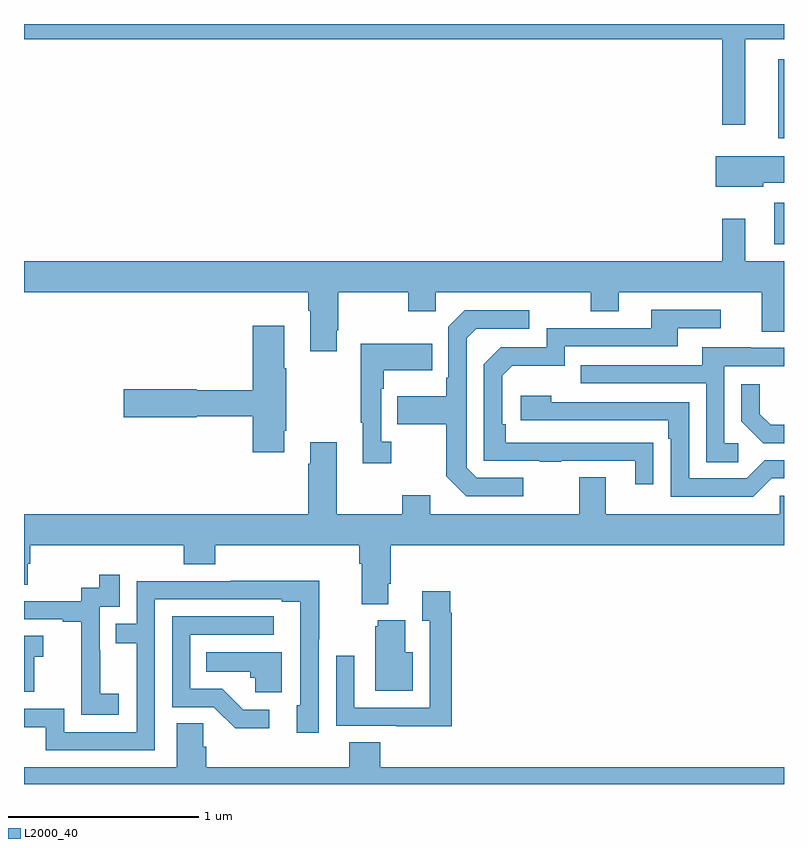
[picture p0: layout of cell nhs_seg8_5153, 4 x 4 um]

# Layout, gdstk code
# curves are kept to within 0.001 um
import gdstk
lib = gdstk.Library(unit=1e-6, precision=1e-09)
def R(c, l, rs):  # rectangles x0, y0, x1, y1
    for r in rs: c.add(gdstk.rectangle(r[:2], r[2:], *l))
def P(c, l, *ps):  # polygons
    for p in ps: c.add(gdstk.Polygon(p, *l))
L2000_40 = (2000, 40)

nhs_seg8_5153 = lib.new_cell('nhs_seg8_5153')
R(nhs_seg8_5153, L2000_40, [(424.949,1128.741,425,1128.96), (424.97,1129.298,425,1129.714)])
P(nhs_seg8_5153, L2000_40, [(424.795,1129.82),(425,1129.82),(425,1129.9),(421,1129.9),(421,1129.82),(424.674,1129.82),(424.674,1129.371),(424.795,1129.371)],
  [(424.89,1129.064),(425,1129.064),(425,1129.204),(424.64,1129.204),(424.64,1129.043),(424.89,1129.043)],
  [(422.647,1128.289),(422.655,1128.289),(422.655,1128.488),(423.022,1128.488),(423.022,1128.389),(423.168,1128.389),(423.168,1128.488),(423.982,1128.488),(423.982,1128.389),(424.129,1128.389),(424.129,1128.488),(424.883,1128.488),(424.883,1128.28),(425,1128.28),(425,1128.652),(424.795,1128.652),(424.795,1128.874),(424.674,1128.874),(424.674,1128.652),(421,1128.652),(421,1128.488),(422.495,1128.488),(422.495,1128.392),(422.507,1128.392),(422.507,1128.177),(422.647,1128.177)],
  [(424.313,1127.696),(423.536,1127.697),(423.536,1127.794),(423.516,1127.794),(423.516,1128.048),(423.569,1128.101),(423.846,1128.101),(423.846,1128.204),(424.441,1128.204),(424.441,1128.3),(424.666,1128.3),(424.666,1128.396),(424.301,1128.396),(424.301,1128.3),(423.75,1128.3),(423.75,1128.198),(423.51,1128.198),(423.42,1128.108),(423.42,1127.601),(423.715,1127.601),(423.715,1127.596),(423.827,1127.596),(423.827,1127.601),(424.217,1127.601),(424.217,1127.478),(424.313,1127.478)],
  [(423.628,1127.511),(423.384,1127.511),(423.33,1127.565),(423.33,1128.246),(423.381,1128.297),(423.658,1128.297),(423.658,1128.393),(423.321,1128.393),(423.234,1128.306),(423.234,1128.037),(423.222,1128.037),(423.222,1127.941),(422.965,1127.941),(422.965,1127.794),(423.222,1127.794),(423.222,1127.521),(423.327,1127.415),(423.628,1127.415)],
  [(422.371,1127.758),(422.379,1127.758),(422.379,1128.089),(422.371,1128.089),(422.371,1128.313),(422.204,1128.313),(422.204,1127.972),(421.908,1127.972),(421.908,1127.978),(421.524,1127.978),(421.524,1127.831),(421.908,1127.831),(421.908,1127.836),(422.204,1127.836),(422.204,1127.646),(422.371,1127.646)],
  [(422.932,1127.702),(422.88,1127.702),(422.88,1127.981),(422.893,1127.981),(422.893,1128.077),(423.149,1128.077),(423.149,1128.217),(422.772,1128.217),(422.772,1127.801),(422.783,1127.801),(422.783,1127.589),(422.932,1127.589)],
  [(424.759,1127.694),(424.686,1127.694),(424.686,1128.099),(425,1128.099),(425,1128.195),(424.825,1128.195),(424.825,1128.199),(424.571,1128.199),(424.571,1128.105),(423.931,1128.105),(423.931,1128.009),(424.59,1128.009),(424.59,1127.593),(424.759,1127.593)],
  [(425,1127.79),(424.93,1127.79),(424.873,1127.847),(424.873,1128.004),(424.776,1128.004),(424.776,1127.81),(424.892,1127.694),(425,1127.694)],
  [(424.935,1127.508),(425,1127.508),(425,1127.604),(424.899,1127.604),(424.803,1127.508),(424.5,1127.508),(424.5,1127.91),(423.776,1127.91),(423.776,1127.944),(423.615,1127.944),(423.615,1127.814),(424.391,1127.814),(424.391,1127.717),(424.404,1127.717),(424.404,1127.412),(424.839,1127.412)],
  [(422.917,1126.954),(422.93,1126.954),(422.93,1127.156),(425,1127.156),(425,1127.418),(424.977,1127.418),(424.977,1127.32),(424.063,1127.32),(424.063,1127.515),(423.923,1127.515),(423.923,1127.32),(423.139,1127.32),(423.139,1127.419),(422.992,1127.419),(422.992,1127.32),(422.647,1127.32),(422.647,1127.698),(422.507,1127.698),(422.507,1127.585),(422.495,1127.585),(422.495,1127.32),(421,1127.32),(421,1126.948),(421.021,1126.948),(421.021,1127.058),(421.034,1127.058),(421.034,1127.156),(421.841,1127.156),(421.841,1127.057),(422.006,1127.057),(422.006,1127.156),(422.765,1127.156),(422.765,1127.06),(422.777,1127.06),(422.777,1126.847),(422.917,1126.847)],
  [(421.498,1126.375),(421.4,1126.375),(421.4,1126.604),(421.398,1126.604),(421.398,1126.833),(421.503,1126.833),(421.503,1127.002),(421.395,1127.002),(421.395,1126.932),(421.302,1126.932),(421.302,1126.863),(421,1126.863),(421,1126.767),(421.205,1126.767),(421.205,1126.755),(421.301,1126.755),(421.301,1126.471),(421.3,1126.471),(421.3,1126.265),(421.498,1126.265)],
  [(421.689,1126.872),(422.357,1126.872),(422.357,1126.86),(422.454,1126.86),(422.454,1126.314),(422.435,1126.314),(422.435,1126.17),(422.55,1126.17),(422.55,1126.663),(422.553,1126.663),(422.553,1126.97),(422.089,1126.97),(422.089,1126.968),(421.593,1126.968),(421.593,1126.743),(421.483,1126.743),(421.483,1126.642),(421.593,1126.642),(421.593,1126.173),(421.212,1126.173),(421.212,1126.296),(421,1126.296),(421,1126.2),(421.115,1126.2),(421.115,1126.077),(421.689,1126.077)],
  [(423.251,1126.802),(423.244,1126.802),(423.244,1126.915),(423.095,1126.915),(423.095,1126.759),(423.135,1126.759),(423.135,1126.302),(422.739,1126.302),(422.739,1126.576),(422.643,1126.576),(422.643,1126.206),(422.959,1126.206),(422.959,1126.205),(423.251,1126.205)],
  [(422.29,1126.29),(422.155,1126.29),(422.044,1126.401),(421.875,1126.401),(421.875,1126.686),(422.314,1126.686),(422.314,1126.782),(421.779,1126.782),(421.779,1126.305),(421.998,1126.305),(422.111,1126.193),(422.29,1126.193)],
  [(423.046,1126.594),(423.007,1126.594),(423.007,1126.762),(422.861,1126.762),(422.861,1126.731),(422.849,1126.731),(422.849,1126.391),(423.046,1126.391)],
  [(421.053,1126.571),(421.102,1126.571),(421.102,1126.681),(421,1126.681),(421,1126.386),(421.053,1126.386)],
  [(422.356,1126.594),(421.96,1126.594),(421.96,1126.49),(422.191,1126.49),(422.191,1126.458),(422.217,1126.458),(422.217,1126.382),(422.356,1126.382)],
  [(425,1125.988),(422.876,1125.988),(422.876,1126.121),(422.711,1126.121),(422.711,1125.988),(421.958,1125.988),(421.958,1126.097),(421.944,1126.097),(421.944,1126.22),(421.805,1126.22),(421.805,1125.988),(421,1125.988),(421,1125.9),(425,1125.9)])

lib.write_gds('nhs_seg8_5153.gds')
